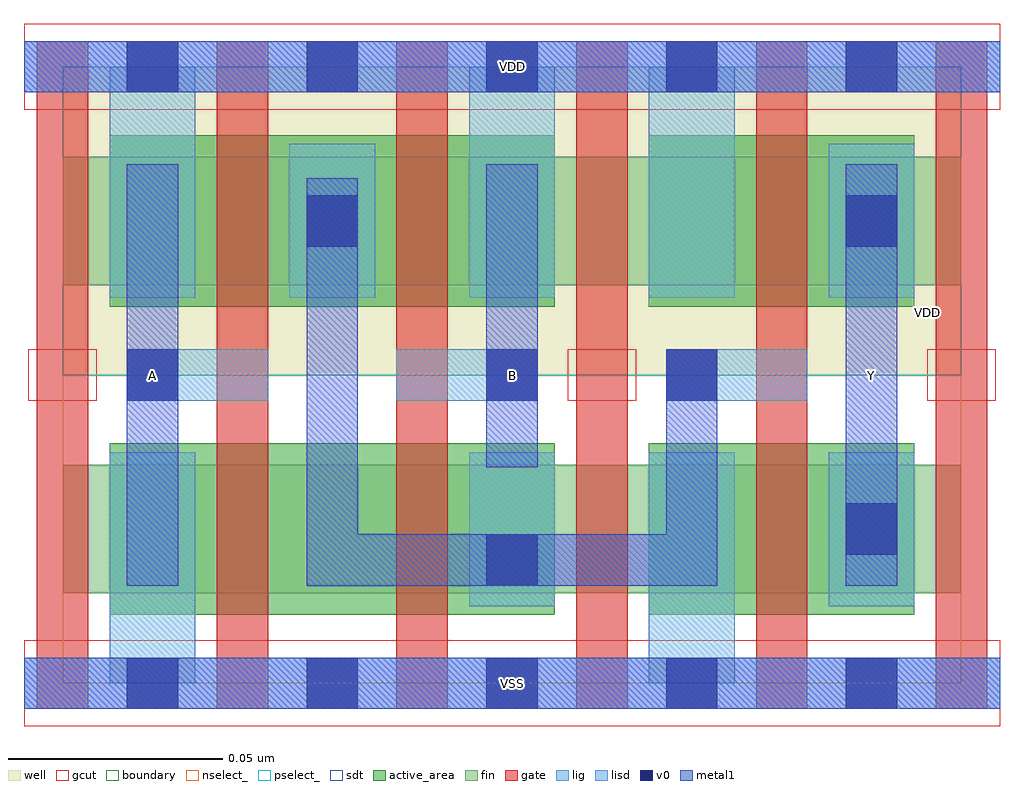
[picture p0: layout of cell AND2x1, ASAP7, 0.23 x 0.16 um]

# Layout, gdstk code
import gdstk
lib = gdstk.Library(unit=1e-6, precision=2.5e-10)
def R(c, l, rs):  # rectangles x0, y0, x1, y1
    for r in rs: c.add(gdstk.rectangle(r[:2], r[2:], *l))
def A(c, l, x, y, w, h, nx, ny, dx, dy):  # array of equal rectangles
    R(c, l, [(x+i*dx, y+j*dy, x+i*dx+w, y+j*dy+h) for i in range(nx) for j in range(ny)])
def P(c, l, *ps):  # polygons
    for p in ps: c.add(gdstk.Polygon(p, *l))
well = (1, 0)
fin = (2, 0)
gate = (7, 0)
gcut = (10, 0)
active_area = (11, 0)
nselect_ = (12, 0)
pselect_ = (13, 0)
lig = (16, 0)
lisd = (17, 0)
v0 = (18, 0)
metal1 = (19, 0)
sdt = (88, 0)
boundary = (100, 0)

and2x1 = lib.new_cell('AND2x1')
R(and2x1, well, [(0,0.072,0.21,0.144)])
R(and2x1, fin, [(0,0.021,0.21,0.051), (0,0.093,0.21,0.123)])
A(and2x1, gate, -0.006, -0.006, 0.012, 0.156, 6, 1, 0.042, 0)
R(and2x1, gcut, [(-0.009,-0.01,0.219,0.01), (-0.008,0.066,0.008,0.078), (0.118,0.066,0.134,0.078), (0.202,0.066,0.218,0.078), (-0.009,0.134,0.219,0.154)])
R(and2x1, active_area, [(0.011,0.016,0.115,0.056), (0.137,0.016,0.199,0.056), (0.011,0.088,0.115,0.128), (0.137,0.088,0.199,0.128)])
R(and2x1, nselect_, [(0,0,0.21,0.072)])
R(and2x1, pselect_, [(0,0.072,0.21,0.144)])
A(and2x1, lig, 0.015, 0.066, 0.033, 0.012, 3, 1, 0.063, 0)
R(and2x1, lig, [(-0.009,-0.006,0.219,0.006), (-0.009,0.138,0.219,0.15)])
R(and2x1, lisd, [(0.011,0,0.031,0.054), (0.137,0,0.157,0.054), (0.095,0.018,0.115,0.054), (0.179,0.018,0.199,0.054), (0.011,0.09,0.031,0.144), (0.053,0.09,0.073,0.126), (0.095,0.09,0.115,0.144), (0.137,0.09,0.157,0.144), (0.179,0.09,0.199,0.126)])
A(and2x1, v0, 0.015, -0.006, 0.012, 0.012, 5, 2, 0.042, 0.144)
R(and2x1, v0, [(0.099,0.0227,0.111,0.0348), (0.183,0.03,0.195,0.042), (0.015,0.066,0.027,0.078), (0.099,0.066,0.111,0.078), (0.141,0.066,0.153,0.078), (0.057,0.102,0.069,0.114), (0.183,0.102,0.195,0.114)])
R(and2x1, metal1, [(-0.009,-0.006,0.219,0.006), (0.015,0.0227,0.027,0.1212), (0.183,0.0227,0.195,0.1212), (0.099,0.0505,0.111,0.1212), (-0.009,0.138,0.219,0.15)])
P(and2x1, metal1, [(0.057,0.118),(0.057,0.0227),(0.153,0.0227),(0.153,0.078),(0.141,0.078),(0.141,0.0348),(0.069,0.0348),(0.069,0.118)])
A(and2x1, sdt, 0.095, 0.021, 0.02, 0.03, 3, 1, 0.042, 0)
A(and2x1, sdt, 0.011, 0.093, 0.02, 0.03, 5, 1, 0.042, 0)
R(and2x1, sdt, [(0.011,0.021,0.031,0.051)])
R(and2x1, boundary, [(0,0,0.21,0.144)])
and2x1.add(gdstk.Label('VDD', (0.202,0.0865), layer=1, texttype=251))
and2x1.add(gdstk.Label('VSS', (0.236,0.0348), layer=3, texttype=251))
and2x1.add(gdstk.Label('B', (0.105,0.072), layer=19, texttype=251))
and2x1.add(gdstk.Label('VDD', (0.105,0.144), layer=19, texttype=251))
and2x1.add(gdstk.Label('VSS', (0.105,0), layer=19, texttype=251))
and2x1.add(gdstk.Label('A', (0.021,0.072), layer=19, texttype=251))
and2x1.add(gdstk.Label('Y', (0.189,0.072), layer=19, texttype=251))

lib.write_gds('AND2x1.gds')
